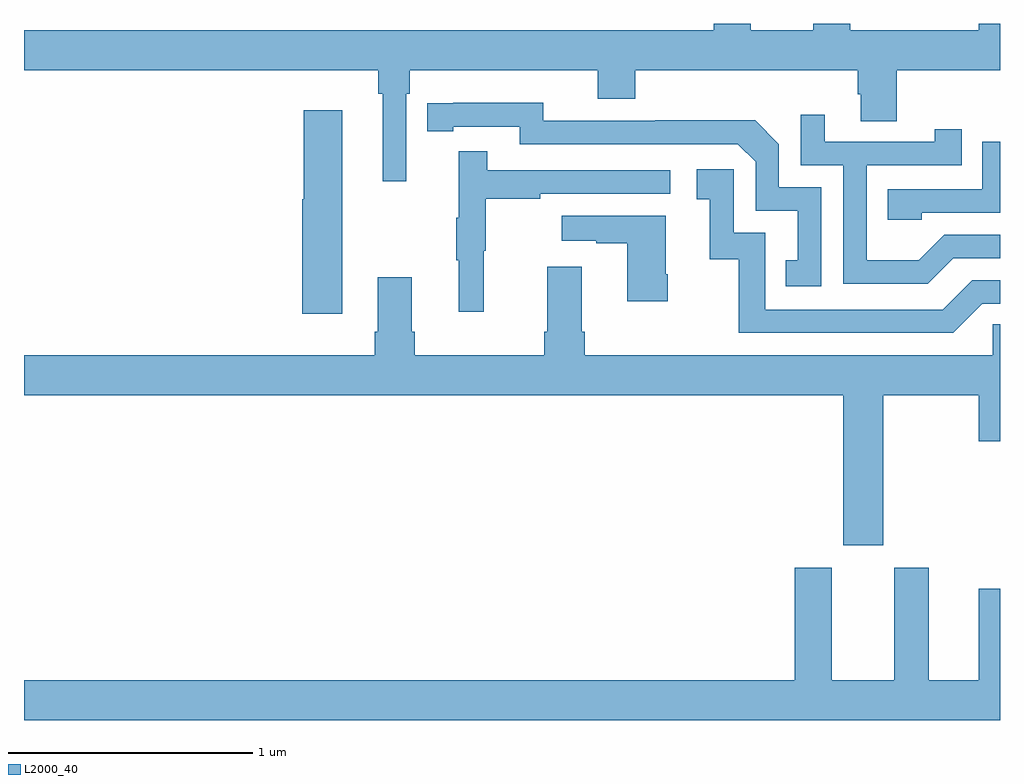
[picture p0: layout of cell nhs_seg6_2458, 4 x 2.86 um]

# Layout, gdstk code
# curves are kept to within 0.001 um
import gdstk
lib = gdstk.Library(unit=1e-6, precision=1e-09)
def P(c, l, *ps):  # polygons
    for p in ps: c.add(gdstk.Polygon(p, *l))
L2000_40 = (2000, 40)

nhs_seg6_2458 = lib.new_cell('nhs_seg6_2458')
P(nhs_seg6_2458, L2000_40, [(260.416,975.21),(260.429,975.21),(260.429,975.1),(260.577,975.1),(260.577,975.308),(261,975.308),(261,975.5),(260.912,975.5),(260.912,975.472),(260.387,975.472),(260.387,975.5),(260.234,975.5),(260.234,975.472),(259.978,975.472),(259.978,975.5),(259.826,975.5),(259.826,975.472),(257,975.472),(257,975.308),(258.451,975.308),(258.451,975.212),(258.47,975.212),(258.47,974.853),(258.567,974.853),(258.567,975.212),(258.581,975.212),(258.581,975.308),(259.352,975.308),(259.352,975.191),(259.505,975.191),(259.505,975.308),(260.416,975.308)],
  [(260.268,974.829),(260.094,974.829),(260.094,975.006),(259.996,975.104),(259.588,975.104),(259.588,975.102),(259.128,975.102),(259.128,975.175),(258.652,975.174),(258.652,975.058),(258.76,975.058),(258.76,975.078),(259.032,975.078),(259.032,975.006),(259.926,975.006),(259.998,974.934),(259.998,974.733),(260.171,974.733),(260.171,974.529),(260.122,974.529),(260.122,974.424),(260.268,974.424)],
  [(258.304,975.145),(258.146,975.145),(258.146,974.781),(258.14,974.781),(258.14,974.31),(258.304,974.31)],
  [(260.809,974.538),(261,974.538),(261,974.634),(260.772,974.634),(260.668,974.53),(260.454,974.53),(260.454,974.919),(260.843,974.919),(260.843,975.067),(260.732,975.067),(260.732,975.015),(260.281,975.015),(260.281,975.127),(260.184,975.127),(260.184,974.919),(260.358,974.919),(260.358,974.433),(260.704,974.433)],
  [(260.679,974.724),(261,974.724),(261,975.015),(260.928,975.015),(260.928,974.82),(260.539,974.82),(260.539,974.697),(260.679,974.697)],
  [(258.884,974.568),(258.892,974.568),(258.892,974.782),(259.115,974.782),(259.115,974.802),(259.648,974.802),(259.648,974.898),(258.899,974.898),(258.899,974.977),(258.782,974.977),(258.782,974.705),(258.771,974.705),(258.771,974.531),(258.782,974.531),(258.782,974.319),(258.884,974.319)],
  [(260.928,974.352),(261,974.352),(261,974.448),(260.886,974.448),(260.766,974.328),(260.037,974.328),(260.037,974.643),(259.908,974.643),(259.908,974.902),(259.758,974.902),(259.758,974.781),(259.811,974.781),(259.811,974.535),(259.929,974.535),(259.929,974.232),(260.808,974.232)],
  [(259.638,974.473),(259.63,974.473),(259.63,974.713),(259.203,974.713),(259.203,974.609),(259.346,974.609),(259.346,974.599),(259.472,974.599),(259.472,974.361),(259.638,974.361)],
  [(260.521,973.976),(260.912,973.976),(260.912,973.788),(261,973.788),(261,974.267),(260.97,974.267),(260.97,974.14),(259.298,974.14),(259.298,974.236),(259.285,974.236),(259.285,974.503),(259.145,974.503),(259.145,974.236),(259.133,974.236),(259.133,974.14),(258.602,974.14),(258.602,974.236),(258.589,974.236),(258.589,974.461),(258.449,974.461),(258.449,974.236),(258.437,974.236),(258.437,974.14),(257,974.14),(257,973.976),(260.357,973.976),(260.357,973.362),(260.521,973.362)],
  [(261,973.183),(260.912,973.183),(260.912,972.808),(260.707,972.808),(260.707,973.27),(260.567,973.27),(260.567,972.808),(260.311,972.808),(260.311,973.27),(260.159,973.27),(260.159,972.808),(257,972.808),(257,972.644),(261,972.644)])

lib.write_gds('nhs_seg6_2458.gds')
